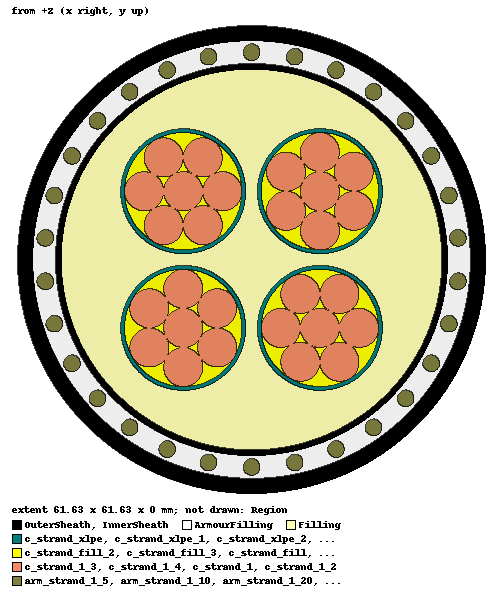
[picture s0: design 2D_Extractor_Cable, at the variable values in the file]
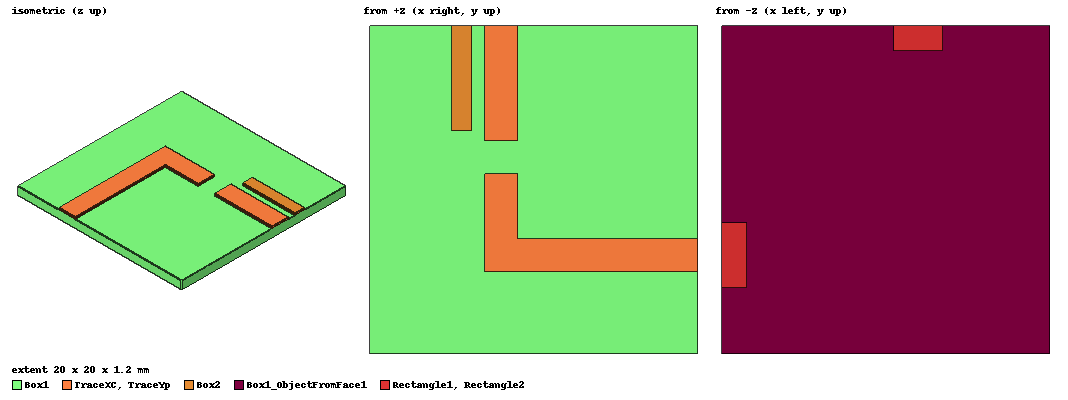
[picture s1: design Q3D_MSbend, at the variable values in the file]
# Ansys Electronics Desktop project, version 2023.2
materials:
  vacuum: permittivity=1
  copper: permeability=0.999991 conductivity=58000000
  plastic_pe_cable_grade: permittivity=2.09762 permeability=1 conductivity=1.40573e-16 dielectric_loss_tangent=0.000264575
  plastic_pp_carbon_fiber: permittivity=1 permeability=1 conductivity=0.0003161
  PVC plastic: permittivity=2.7 dielectric_loss_tangent=0.007
  steel_stainless: conductivity=1100000
  air: permittivity=1.0006 permeability=1.0000004
  FR4_epoxy: permittivity=4.4 dielectric_loss_tangent=0.02
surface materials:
  Steel-oxidised-surface

design 2D_Extractor_Cable (2D Extractor, Open, model units mm)
options: LumpedLength=100m RiseTime=1ns DistribLengthUnits=meter Calculate_Lossy_Dielectrics
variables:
  n_cores = 4
  n_strands_core = 6
  c_strand_radius = 2.575mm
  c_strand_xy_coord = 9mm
  filling_radius = 25.066695mm
  inner_sheath_radius = 25.816695mm
  armour_radius = 28.816695mm
  outer_sheath_radius = 30.816695mm
  armour_centre_pos = 27.316695mm
  arm_strand_rad = 1.3mm
  n_arm_strands = 30
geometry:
  coordinate_system CS_c_strand_1 = origin=(c_strand_xy_coord, c_strand_xy_coord, 0mm) x=(1mm, 0mm, 0mm) y=(0mm, 1mm, 0mm)
  c_strand_1 [copper] = circle(normal=Z, centre=(0mm, 0mm, 0mm), radius=c_strand_radius) in CS_c_strand_1
  c_strand_1_1 = c_strand_1.duplicate_along_line(step=(0mm, 2.0*c_strand_radius, 0mm), total=2) in CS_c_strand_1
  c_strand_1_1_1..c_strand_1_1_5 = c_strand_1_1.duplicate_around_axis(axis=Z, angle=60deg, total=6) in CS_c_strand_1
  c_strand_1.unite(c_strand_1_1, c_strand_1_1_1..c_strand_1_1_5)
  c_strand_fill [plastic_pp_carbon_fiber] = circle(normal=Z, centre=(0mm, 0mm, 0mm), radius=3*c_strand_radius) in CS_c_strand_1
  c_strand_xlpe [plastic_pe_cable_grade] = circle(normal=Z, centre=(0mm, 0mm, 0mm), radius=3*c_strand_radius+0.5mm) in CS_c_strand_1
  c_strand_1_2, c_strand_1_3, c_strand_1_4 [copper] = c_strand_1.duplicate_around_axis(axis=Z, angle=90deg, total=4)
  c_strand_fill_1, c_strand_fill_2, c_strand_fill_3 [plastic_pp_carbon_fiber] = c_strand_fill.duplicate_around_axis(axis=Z, angle=90deg, total=4)
  c_strand_xlpe_1, c_strand_xlpe_2, c_strand_xlpe_3 [plastic_pe_cable_grade] = c_strand_xlpe.duplicate_around_axis(axis=Z, angle=90deg, total=4)
  Filling [plastic_pp_carbon_fiber] = circle(normal=Z, centre=(0mm, 0mm, 0mm), radius=filling_radius)
  InnerSheath [PVC plastic] = circle(normal=Z, centre=(0mm, 0mm, 0mm), radius=inner_sheath_radius)
  ArmourFilling [plastic_pp_carbon_fiber] = circle(normal=Z, centre=(0mm, 0mm, 0mm), radius=armour_radius)
  OuterSheath [PVC plastic] = circle(normal=Z, centre=(0mm, 0mm, 0mm), radius=outer_sheath_radius)
  arm_strand_1 [steel_stainless] = circle(normal=Z, centre=(0mm, armour_centre_pos, 0mm), radius=1.1mm)
  arm_strand_1_1..arm_strand_1_29 [steel_stainless] = arm_strand_1.duplicate_around_axis(axis=Z, angle=360deg/n_arm_strands, total=n_arm_strands)
  Region [vacuum] = region(percentage_offset: +X=500, -X=500, +Y=500, -Y=500, +Z=0, -Z=0)
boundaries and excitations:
  C11: SignalLine Objects=c_strand_1 SolveOption=SolveInside Thickness=0.18392857um
  C12: SignalLine Objects=c_strand_1_2 SolveOption=SolveInside Thickness=0.18392857um
  C13: SignalLine Objects=c_strand_1_3 SolveOption=SolveInside Thickness=0.18392857um
  C14: SignalLine Objects=c_strand_1_4 SolveOption=SolveInside Thickness=0.18392857um
  gnd: ReferenceGround Objects=[arm_strand_1, arm_strand_1_1..arm_strand_1_29] SolveOption=SolveInside Thickness=0.55um
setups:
  MySetupAuto: 2DMatrix AdaptiveFreq=1GHz SaveFields CGDataBlock{MaxPass=10 MinPass=1 MinConvPass=1 PerError=1 PerRefine=30 Included UseParamConv PerErrorParamConv=1 UseLossConv} RLDataBlock{MaxPass=10 MinPass=1 MinConvPass=1 PerError=1 PerRefine=30 Included UseParamConv PerErrorParamConv=1 UseLossConv}
    sweep sweep1: 0Hz to 3MHz, log, 1 per decade; Type=Interpolating InterpTolerance=0.5 InterpMaxSolns=50 MinSolvedFreq=100000
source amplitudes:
  C11: CG Fields 1V 0deg
  C12, C13, C14: CG Fields 0V 0deg
  C11: RL Fields 1A 0deg
  C12, C13, C14: RL Fields 0A 0deg

design Q3D_MSbend (Q3D Extractor, model units mm)
options: SParamCalcMethod=EqTransLine Calculate_Lossy_Dielectrics
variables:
  Substrate_Thickness = 1mm
  TraceWidth = 2mm
  Xlength = 20mm
  Xline = -2mm
  Ylength = 20mm
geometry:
  TraceXC [copper] = polyline(z=1mm, xy: (10mm, -4mm) (Xline, -4mm) (Xline, 1mm), section line width=TraceWidth)
  TraceXC.thicken(-0.2mm)
  TraceYp [copper] = polyline((Xline, 3mm, 1mm) (Xline, 10mm, 1mm), section line width=TraceWidth)
  TraceYp.thicken(-0.2mm)
  Box1 [FR4_epoxy] = box(corner=(-10mm, -10mm, 0mm), size=(Xlength, Ylength, Substrate_Thickness))
  Box1_ObjectFromFace1 [FR4_epoxy] = object_from(Box1.face(-z))
  Rectangle1 [copper] = rectangle(corner=(8.5mm, -6mm, 0mm), x_size=1.5mm, y_size=4mm)
  Rectangle2 [copper] = rectangle(corner=(-3.5mm, 10mm, 0mm), x_size=3mm, y_size=-1.5mm)
  Box2 [copper] = box(corner=(-5mm, 10mm, 1mm), size=(1.2mm, -6.4mm, 0.2mm))
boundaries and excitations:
  ThinCond1: ThinConductor Objects=Box1_ObjectFromFace1 Material=Copper Thickness=0.1mm
  TraceXC: SignalNet Objects=TraceXC
  TraceYp: SignalNet Objects=TraceYp
  Box1_ObjectFromFace1: SignalNet Objects=Box1_ObjectFromFace1
  SignalNet1: SignalNet Objects=Box2
  Rectangle2: Source Objects=Rectangle2 TerminalType=ConstantVoltage Net=Box1_ObjectFromFace1
  Rectangle1: Sink Objects=Rectangle1 TerminalType=ConstantVoltage Net=Box1_ObjectFromFace1
  Source1: Source Faces=TraceXC.face(at (10, -4, 1.1)) TerminalType=ConstantVoltage Net=TraceXC
  Sink1: Sink Faces=TraceXC.face(at (-2, 1, 1.1)) TerminalType=ConstantVoltage Net=TraceXC
  Sink2: Sink Faces=TraceYp.face(at (-2, 10, 1.1)) TerminalType=ConstantVoltage Net=TraceYp
  Source2: Source Faces=TraceYp.face(at (-2, 3, 1.1)) TerminalType=ConstantVoltage Net=TraceYp
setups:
  Setup1GHz: Matrix AdaptiveFreq=1GHz SaveFields Cap{MaxPass=10 MinPass=1 MinConvPass=1 PerError=1 PerRefine=30 AutoIncreaseSolutionOrder SolutionOrder=High Solver_Type=Iterative} DC{Cond{MaxPass=10 MinPass=1 MinConvPass=1 PerError=1 PerRefine=30} Mult{MaxPass=1 MinPass=1 MinConvPass=1 PerError=1 PerRefine=30} Solution_Order=Normal} AC{MaxPass=10 MinPass=1 MinConvPass=1 PerError=1 PerRefine=30} ErrorValue=0.1
    sweep MSbX_021GHz: 0Hz to 1Hz step 1Hz; 1Hz to 100MHz, log, 10 per decade; 100MHz to 1GHz step 200MHz; Type=Discrete
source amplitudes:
  Box1_ObjectFromFace1:Rectangle2: AC 1A
  TraceXC:Source1, TraceYp:Source2: AC 0A
  Box1_ObjectFromFace1: Cap 50V 0deg
  SignalNet1: Cap 0V 0deg
  TraceXC: Cap 100V 0deg
  TraceYp: Cap 75V 0deg
  Box1_ObjectFromFace1:Rectangle2: DC 1A
  TraceXC:Source1, TraceYp:Source2: DC 0A
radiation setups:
  Sphere1: Near Sphere Theta=0deg..180deg step 2deg Phi=-180deg..180deg step 2deg Radius=20mm
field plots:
  JdcThinCond1: JDC ThinCond over Box1_ObjectFromFace1.face on Setup1GHz : LastAdaptive at Freq=1GHz
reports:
  C Matrix Plot 1: C(TraceXC,Box1_ObjectFromFace1) vs Freq on Setup1GHz : MSbX_021GHz
  ACL Matrix Plot 1: ACL(TraceXC:Source1,Box1_ObjectFromFace1:Rectangle2) vs Freq on Setup1GHz : MSbX_021GHz
  E Fields Plot 1: dB(ETotal) vs Theta, Phi on Setup1GHz : LastAdaptive [Freq=1GHz]
